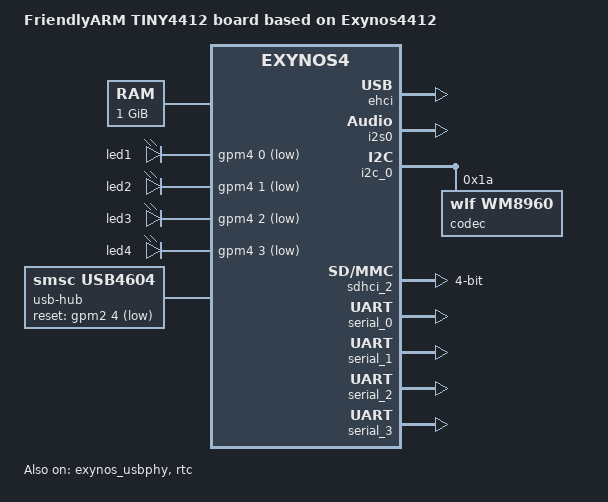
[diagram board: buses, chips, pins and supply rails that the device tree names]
/*
 * FriendlyARM's Exynos4412 based TINY4412 board device tree source
 *
 * Copyright (c) 2013 Alex Ling <kasimling@gmail.com>
 *
 * Device tree source file for FriendlyARM's TINY4412 board which is based on
 * Samsung's Exynos4412 SoC.
 *
 * This program is free software; you can redistribute it and/or modify
 * it under the terms of the GNU General Public License version 2 as
 * published by the Free Software Foundation.
*/

/dts-v1/;
#include "exynos4412.dtsi"
#include <dt-bindings/sound/samsung-i2s.h>
#include <dt-bindings/gpio/gpio.h>

/ {
	model = "FriendlyARM TINY4412 board based on Exynos4412";
	compatible = "friendlyarm,tiny4412", "samsung,exynos4412", "samsung,exynos4";

	chosen {
		stdout-path = &serial_0;
		bootargs = "root=/dev/ram0 rw rootfstype=ext4 console=ttySAC0,115200 init=/linuxrc earlyprintk";
	};

	memory@40000000 {
		device_type = "memory";
		reg = <0x40000000 0x40000000>;
	};

	leds {
		compatible = "gpio-leds";

		led1 {
			label = "led1";
			gpios = <&gpm4 0 GPIO_ACTIVE_LOW>;
			default-state = "off";
			linux,default-trigger = "heartbeat";
		};

		led2 {
			label = "led2";
			gpios = <&gpm4 1 GPIO_ACTIVE_LOW>;
			default-state = "off";
		};

		led3 {
			label = "led3";
			gpios = <&gpm4 2 GPIO_ACTIVE_LOW>;
			default-state = "off";
		};

		led4 {
			label = "led4";
			gpios = <&gpm4 3 GPIO_ACTIVE_LOW>;
			default-state = "off";
			linux,default-trigger = "mmc0";
		};
	};

	fixed-rate-clocks {
		xxti {
			compatible = "samsung,clock-xxti";
			clock-frequency = <0>;
		};

		xusbxti {
			compatible = "samsung,clock-xusbxti";
			clock-frequency = <24000000>;
		};
	};

	sound {
		compatible = "simple-audio-card";
		simple-audio-card,name = "wm-sound";

		simple-audio-card,format = "i2s";
		simple-audio-card,bitclock-master = <&link0_codec>;
		simple-audio-card,frame-master = <&link0_codec>;

		simple-audio-card,widgets =
			"Microphone", "Mic Jack",
			"Line", "Line In",
			"Line", "Line Out",
			"Speaker", "Speaker",
			"Headphone", "Headphone Jack";
		simple-audio-card,routing =
			"Headphone Jack", "HP_L",
			"Headphone Jack", "HP_R",
			"Speaker", "SPK_LP",
			"Speaker", "SPK_LN",
			"Speaker", "SPK_RP",
			"Speaker", "SPK_RN",
			"LINPUT1", "Mic Jack",
			"LINPUT3", "Mic Jack",
			"RINPUT1", "Mic Jack",
			"RINPUT2", "Mic Jack";

		simple-audio-card,cpu {
			sound-dai = <&i2s0 0>;
		};

		link0_codec: simple-audio-card,codec {
			sound-dai = <&codec>;
			clocks = <&i2s0 CLK_I2S_CDCLK>;
			system-clock-frequency = <11289600>;
		};
	};

	usb-hub {
		compatible = "smsc,usb4604";
		reset-gpios = <&gpm2 4 GPIO_ACTIVE_LOW>;
		initial-mode = <1>;
		status = "okay";
	};

};


&exynos_usbphy {
	status = "okay";
};

&ehci {
	status = "okay";
	port@0 {
		status = "okay";
	};

	port@1 {
		status = "okay";
	};

	port@2 {
		status = "okay";
	};
};


&rtc {
	status = "okay";
};

&i2s0 {
	pinctrl-0 = <&i2s0_bus>;
	pinctrl-names = "default";
	status = "okay";
};

&i2c_0 {
	samsung,i2c-sda-delay = <100>;
	samsung,i2c-slave-addr = <0x10>;
	samsung,i2c-max-bus-freq = <100000>;
	pinctrl-0 = <&i2c0_bus>;
	pinctrl-names = "default";
	status = "okay";

	codec: wm8960@1a {
		compatible = "wlf,wm8960";
		reg = <0x1a>;
		clocks = <&pmu_system_controller 0>;
		clock-names = "MCLK1";
		wlf,shared-lrclk;
		#sound-dai-cells = <0>;
	};
};


&sdhci_2 {
	bus-width = <4>;
	pinctrl-0 = <&sd2_clk &sd2_cmd &sd2_cd &sd2_bus4>;
	pinctrl-names = "default";
	status = "okay";
};

&serial_0 {
	status = "okay";
};

&serial_1 {
	status = "okay";
};

&serial_2 {
	status = "okay";
};

&serial_3 {
	status = "okay";
};
